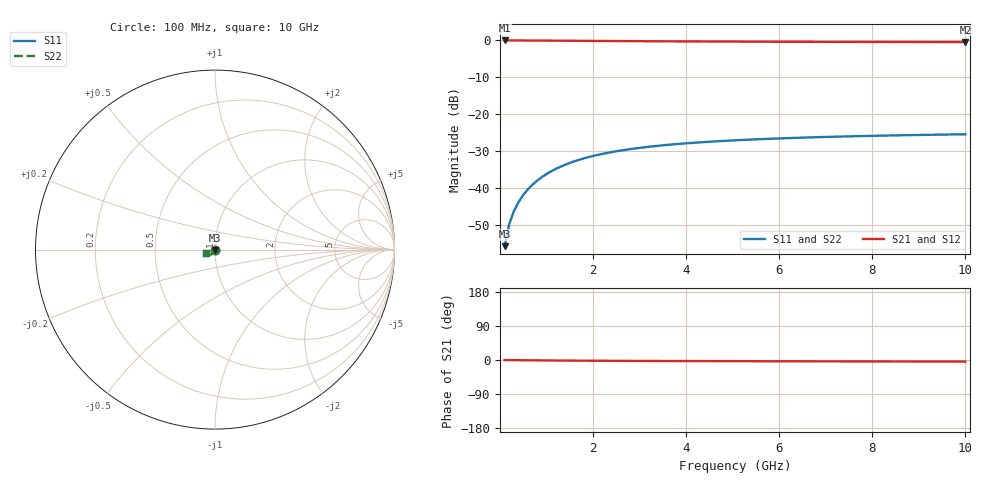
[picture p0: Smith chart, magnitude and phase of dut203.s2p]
! Touchstone file exported from HFSS 2024.1.0
!  File:  C:/UserFiles/LocalFiles/RDL_TSV_Batchsim/temp_TSV1_203_1778757321.aedt
!  Generated:  07:19:03 PM May 14, 2026
!  Design:  TSV1
!  Project:  temp_TSV1_203_1778757321
!  Setup:  Setup1
!  Solution:  Sweep
! Variables:
!  dtsv = 16.45um
!  hbump = 3um
!  htsv = 60.31um
!  lrdl = 252.1521522um
!  p = 40
!  p1 = 51.64um
!  t = 500um
!  trdl = 3um
!  wrdl = 24.89489489um
# GHz S MA R 50.000000
! Terminal data exported
! Port[1] = TSV22_T1
! Port[2] = TSV22_T2
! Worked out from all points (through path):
!   100 points, 100 MHz to 10 GHz, reference 50 ohm
!   highest |S21| = 0.00 dB at 100 MHz (marker M1); lowest = -0.4 dB at 10 GHz (marker M2)
!   lowest |S11| = -55.8 dB at 100 MHz (marker M3), VSWR 1.00, Z = 50 - j0.161 ohm
!   |S11| at or under -10 dB: start of sweep to end of sweep
!   |S22| runs from -55.8 to -25.5 dB; largest |S21 - S12| = 1.1e-15
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0.1  0.001613 -89.5  0.9999 -0.1  0.9999 -0.1  0.001613 -89.5
! Gamma 0 0 0 0
! Port Impedance 50 0 50 0
0.2  0.003222 -92.6  0.9997 -0.3  0.9997 -0.3  0.003222 -92.6
0.3  0.004825 -94.8  0.9995 -0.4  0.9995 -0.4  0.004825 -94.8
0.4  0.006415 -96.8  0.9991 -0.5  0.9991 -0.5  0.006415 -96.8
0.5  0.007984 -98.7  0.9986 -0.6  0.9986 -0.6  0.007984 -98.7
0.6  0.009528 -100.5  0.9981 -0.7  0.9981 -0.7  0.009528 -100.5
0.7  0.01104 -102.2  0.9975 -0.8  0.9975 -0.8  0.01104 -102.2
0.8  0.01252 -103.9  0.9968 -1.0  0.9968 -1.0  0.01252 -103.9
0.9  0.01396 -105.6  0.996 -1.1  0.996 -1.1  0.01396 -105.6
1.1  0.01673 -108.8  0.9943 -1.3  0.9943 -1.3  0.01673 -108.8
1.4  0.02055 -113.3  0.9916 -1.5  0.9916 -1.5  0.02055 -113.3
1.6  0.02288 -116.1  0.9897 -1.7  0.9897 -1.7  0.02288 -116.1
1.8  0.02503 -118.7  0.9878 -1.8  0.9878 -1.8  0.02503 -118.7
2.1  0.02795 -122.3  0.9849 -2.0  0.9849 -2.0  0.02795 -122.3
2.5  0.03132 -126.5  0.9813 -2.2  0.9813 -2.2  0.03132 -126.5
2.9  0.03418 -130.1  0.978 -2.4  0.978 -2.4  0.03418 -130.1
3.4  0.03718 -134.0  0.9743 -2.6  0.9743 -2.6  0.03718 -134.0
4.2  0.04099 -139.1  0.9691 -2.9  0.9691 -2.9  0.04099 -139.1
5.1  0.04425 -143.5  0.9645 -3.1  0.9645 -3.1  0.04425 -143.5
6.7  0.04838 -149.4  0.9584 -3.5  0.9584 -3.5  0.04838 -149.4
8.4  0.05133 -154.0  0.9539 -3.9  0.9539 -3.9  0.05133 -154.0
10  0.05327 -157.2  0.9508 -4.3  0.9508 -4.3  0.05327 -157.2
